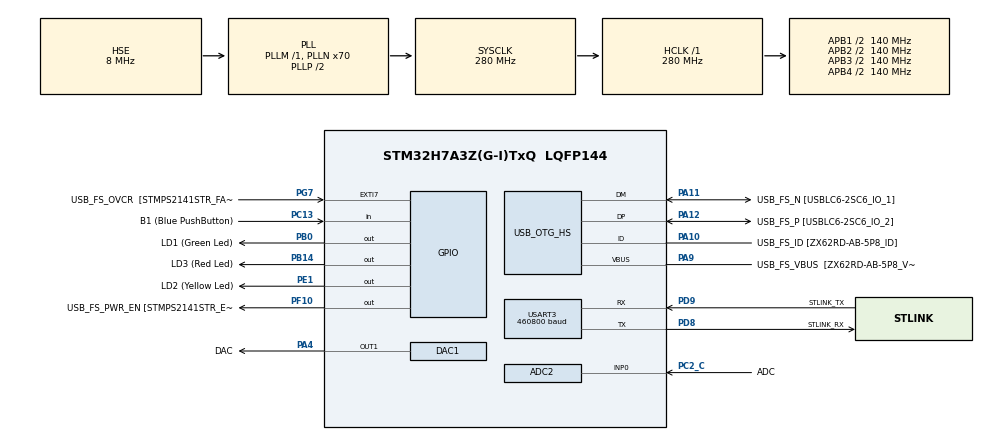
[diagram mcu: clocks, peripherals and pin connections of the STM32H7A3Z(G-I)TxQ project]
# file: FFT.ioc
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ADC2.NbrOfConversionFlag=1
ADC2.Resolution=ADC_RESOLUTION_16B
DAC1.DAC_Channel-DAC_OUT1=DAC_CHANNEL_1
Mcu.Family=STM32H7
Mcu.Name=STM32H7A3Z(G-I)TxQ
Mcu.Package=LQFP144
NVIC.PriorityGroup=NVIC_PRIORITYGROUP_4
PA10.GPIO_Label=USB_FS_ID [ZX62RD-AB-5P8_ID]
PA10.Mode=OTG/Dual-Role-Device-FS
PA10.Signal=USB_OTG_HS_ID
PA11.GPIO_Label=USB_FS_N [USBLC6-2SC6_IO_1]
PA11.Mode=OTG/Dual-Role-Device-FS
PA11.Signal=USB_OTG_HS_DM
PA12.GPIO_Label=USB_FS_P [USBLC6-2SC6_IO_2]
PA12.Mode=OTG/Dual-Role-Device-FS
PA12.Signal=USB_OTG_HS_DP
PA4.GPIO_Label=DAC
PA4.GPIO_Mode=GPIO_MODE_ANALOG
PA4.GPIO_PuPd=GPIO_NOPULL
PA4.Signal=COMP_DAC11_group
PA9.GPIO_Label=USB_FS_VBUS  [ZX62RD-AB-5P8_VBUS]
PA9.Mode=Activate_VBUS_FS
PA9.Signal=USB_OTG_HS_VBUS
PB0.GPIO_Label=LD1 (Green Led)
PB0.Signal=GPIO_Output
PB14.GPIO_Label=LD3 (Red Led)
PB14.Signal=GPIO_Output
PC13.GPIO_Label=B1 (Blue PushButton)
PC13.Signal=GPIO_Input
PC14-OSC32_IN.GPIO_Label=OSC32_IN
PC14-OSC32_IN.Mode=LSE-External-Oscillator
PC14-OSC32_IN.Signal=RCC_OSC32_IN
PC15-OSC32_OUT.GPIO_Label=OSC32_OUT
PC15-OSC32_OUT.Mode=LSE-External-Oscillator
PC15-OSC32_OUT.Signal=RCC_OSC32_OUT
PC2_C.GPIO_Label=ADC
PC2_C.GPIO_Mode=GPIO_MODE_ANALOG
PC2_C.GPIO_PuPd=GPIO_NOPULL
PC2_C.Mode=IN0-Single-Ended
PC2_C.Signal=ADC2_INP0
PD8.GPIO_Label=STLINK_RX
PD8.Mode=Asynchronous
PD8.Signal=USART3_TX
PD9.GPIO_Label=STLINK_TX
PD9.Mode=Asynchronous
PD9.Signal=USART3_RX
PE1.GPIO_Label=LD2 (Yellow Led)
PE1.Signal=GPIO_Output
PF10.GPIO_Label=USB_FS_PWR_EN [STMPS2141STR_EN]
PF10.Signal=GPIO_Output
PG7.GPIO_Label=USB_FS_OVCR  [STMPS2141STR_FAULT]
PG7.Signal=GPXTI7
PH0-OSC_IN.GPIO_Label=PH0-MCU
PH0-OSC_IN.Mode=HSE-External-Clock-Source
PH0-OSC_IN.Signal=RCC_OSC_IN
PH1-OSC_OUT.GPIO_Label=PH1-MCU
PH1-OSC_OUT.Signal=RCC_OSC_OUT
ProjectManager.HeapSize=0x200
ProjectManager.StackSize=0x400
ProjectManager.TargetToolchain=STM32CubeIDE
RCC.ADCFreq_Value=42666666.666666664
RCC.APB1Freq_Value=140000000
RCC.APB2Freq_Value=140000000
RCC.APB3Freq_Value=140000000
RCC.APB4Freq_Value=140000000
RCC.CDPPRE=RCC_APB3_DIV2
RCC.CDPPRE1=RCC_APB1_DIV2
RCC.CDPPRE2=RCC_APB2_DIV2
RCC.CortexFreq_Value=280000000
RCC.DIVM1=1
RCC.DIVM2=1
RCC.DIVM3=1
RCC.DIVN1=70
RCC.DIVN2=16
RCC.DIVN3=24
RCC.DIVP2=3
RCC.DIVQ1=20
RCC.DIVQ2=1
RCC.HCLKFreq_Value=280000000
RCC.HSE_VALUE=8000000
RCC.PLL2FRACN=0
RCC.PLL2_VCI_Range-AdvancedSettings=RCC_PLL2VCIRANGE_0
RCC.PLL3FRACN=0
RCC.PLL3_VCO_SEL-AdvancedSettings=RCC_PLL3VCOWIDE
RCC.PLLFRACN=0
RCC.PLLSourceVirtual=RCC_PLLSOURCE_HSE
RCC.SRDPPRE=RCC_APB4_DIV2
RCC.SYSCLKFreq_VALUE=280000000
RCC.SYSCLKSource=RCC_SYSCLKSOURCE_PLLCLK
RCC.SupplySource=PWR_DIRECT_SMPS_SUPPLY
RCC.USBCLockSelection=RCC_USBCLKSOURCE_HSI48
RCC.USBFreq_Value=48000000
SH.COMP_DAC11_group.0=DAC1_OUT1,DAC_OUT1
USART3.BaudRate=460800
USART3.VirtualMode-Asynchronous=VM_ASYNC
board=NUCLEO-H7A3ZI-Q

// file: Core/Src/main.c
/* USER CODE BEGIN Header */
/**
  ******************************************************************************
  * @file           : main.c
  * @brief          : Main program body
  ******************************************************************************
  * @attention
  *
  * Copyright (c) 2023 STMicroelectronics.
  * All rights reserved.
  *
  * This software is licensed under terms that can be found in the LICENSE file
  * in the root directory of this software component.
  * If no LICENSE file comes with this software, it is provided AS-IS.
  *
  ******************************************************************************
  */
/* USER CODE END Header */
#include "main.h"
#include "adc.h"
#include "dac.h"
#include "usart.h"
#include "usb_otg.h"
#include "gpio.h"

/* USER CODE BEGIN PTD */

extern ADC_HandleTypeDef hadc2;
extern UART_HandleTypeDef huart3;

/* USER CODE END PTD */

/* USER CODE BEGIN PD */

#define PUTCHAR_PROTOTYPE int __io_putchar(int ch)

int CyclesCounterInit( uint32_t clockSpeed );
#define CyclesCounterRead()		DWT->CYCCNT
#define CyclesCounterReset()    (DWT->CYCCNT = 0)

#define FRE_CLOCK	280000000
#define MUESTRAS	100
#define FS			FRE_CLOCK/MUESTRAS

/* USER CODE END PD */

void SystemClock_Config(void);

int main(void)
{
  /* USER CODE BEGIN 1 */

  uint16_t 	adc_value = 0;
  uint16_t adc[MUESTRAS] ;
  uint16_t sample = 0;

  /* USER CODE END 1 */

  /* MCU Configuration--------------------------------------------------------*/

  /* Reset of all peripherals, Initializes the Flash interface and the Systick. */
  HAL_Init();

  /* Configure the system clock */
  SystemClock_Config();

  /* Initialize all configured peripherals */
  MX_GPIO_Init();
  MX_USB_OTG_HS_USB_Init();
  MX_ADC2_Init();
  MX_USART3_UART_Init();
  MX_DAC1_Init();
  /* USER CODE BEGIN 2 */

  CyclesCounterInit(FRE_CLOCK); // Enable the cycle counter

  printf("Inicio ADC DAC \r\n");

  /* USER CODE END 2 */

  /* Infinite loop */
  while (1)
  {

    /* USER CODE BEGIN 3 */

	CyclesCounterReset();

	HAL_ADC_Start(&hadc2);
	HAL_ADC_PollForConversion(&hadc2, 1000);
	adc_value = HAL_ADC_GetValue(&hadc2);
	HAL_ADC_Stop(&hadc2);

	adc[sample] = adc_value;
	sample++;

	while(CyclesCounterRead() <  FS )
	{}

    if(sample >= MUESTRAS)
    {
    	HAL_GPIO_TogglePin(LD1_GPIO_Port, LD1_Pin);
    	printf("ADC = %d size = %d  \r\n",adc_value,sample);
    	sample = 0;
    }

  }
  /* USER CODE END 3 */
}

void SystemClock_Config(void)
{
  RCC_OscInitTypeDef RCC_OscInitStruct = {0};
  RCC_ClkInitTypeDef RCC_ClkInitStruct = {0};

  /*AXI clock gating */
  RCC->CKGAENR = 0xFFFFFFFF;

  /** Supply configuration update enable
  */
  HAL_PWREx_ConfigSupply(PWR_DIRECT_SMPS_SUPPLY);

  /** Configure the main internal regulator output voltage
  */
  __HAL_PWR_VOLTAGESCALING_CONFIG(PWR_REGULATOR_VOLTAGE_SCALE0);

  while(!__HAL_PWR_GET_FLAG(PWR_FLAG_VOSRDY)) {}

  /** Initializes the RCC Oscillators according to the specified parameters
  * in the RCC_OscInitTypeDef structure.
  */
  RCC_OscInitStruct.OscillatorType = RCC_OSCILLATORTYPE_HSI48|RCC_OSCILLATORTYPE_LSI
                              |RCC_OSCILLATORTYPE_HSE;
  RCC_OscInitStruct.HSEState = RCC_HSE_BYPASS;
  RCC_OscInitStruct.LSIState = RCC_LSI_ON;
  RCC_OscInitStruct.HSI48State = RCC_HSI48_ON;
  RCC_OscInitStruct.PLL.PLLState = RCC_PLL_ON;
  RCC_OscInitStruct.PLL.PLLSource = RCC_PLLSOURCE_HSE;
  RCC_OscInitStruct.PLL.PLLM = 1;
  RCC_OscInitStruct.PLL.PLLN = 70;
  RCC_OscInitStruct.PLL.PLLP = 2;
  RCC_OscInitStruct.PLL.PLLQ = 20;
  RCC_OscInitStruct.PLL.PLLR = 2;
  RCC_OscInitStruct.PLL.PLLRGE = RCC_PLL1VCIRANGE_3;
  RCC_OscInitStruct.PLL.PLLVCOSEL = RCC_PLL1VCOWIDE;
  RCC_OscInitStruct.PLL.PLLFRACN = 0;
  if (HAL_RCC_OscConfig(&RCC_OscInitStruct) != HAL_OK)
  {
    Error_Handler();
  }

  /** Initializes the CPU, AHB and APB buses clocks
  */
  RCC_ClkInitStruct.ClockType = RCC_CLOCKTYPE_HCLK|RCC_CLOCKTYPE_SYSCLK
                              |RCC_CLOCKTYPE_PCLK1|RCC_CLOCKTYPE_PCLK2
                              |RCC_CLOCKTYPE_D3PCLK1|RCC_CLOCKTYPE_D1PCLK1;
  RCC_ClkInitStruct.SYSCLKSource = RCC_SYSCLKSOURCE_PLLCLK;
  RCC_ClkInitStruct.SYSCLKDivider = RCC_SYSCLK_DIV1;
  RCC_ClkInitStruct.AHBCLKDivider = RCC_HCLK_DIV1;
  RCC_ClkInitStruct.APB3CLKDivider = RCC_APB3_DIV2;
  RCC_ClkInitStruct.APB1CLKDivider = RCC_APB1_DIV2;
  RCC_ClkInitStruct.APB2CLKDivider = RCC_APB2_DIV2;
  RCC_ClkInitStruct.APB4CLKDivider = RCC_APB4_DIV2;

  if (HAL_RCC_ClockConfig(&RCC_ClkInitStruct, FLASH_LATENCY_7) != HAL_OK)
  {
    Error_Handler();
  }
}

/* USER CODE BEGIN 4 */

PUTCHAR_PROTOTYPE
{
  /* Place your implementation of fputc here */
  /* e.g. write a character to the USART3 and Loop until the end of transmission */
  HAL_UART_Transmit(&huart3, (uint8_t *)&ch, 1, 0xFFFF);

  return ch;
}

int CyclesCounterInit( uint32_t clockSpeed )
{
   DWT->CTRL  |= 1; // *DWT_CTRL  |= 1;
   return 1;
}

/* USER CODE END 4 */

void Error_Handler(void)
{
  __disable_irq();
  while (1)
  {
  }
}
